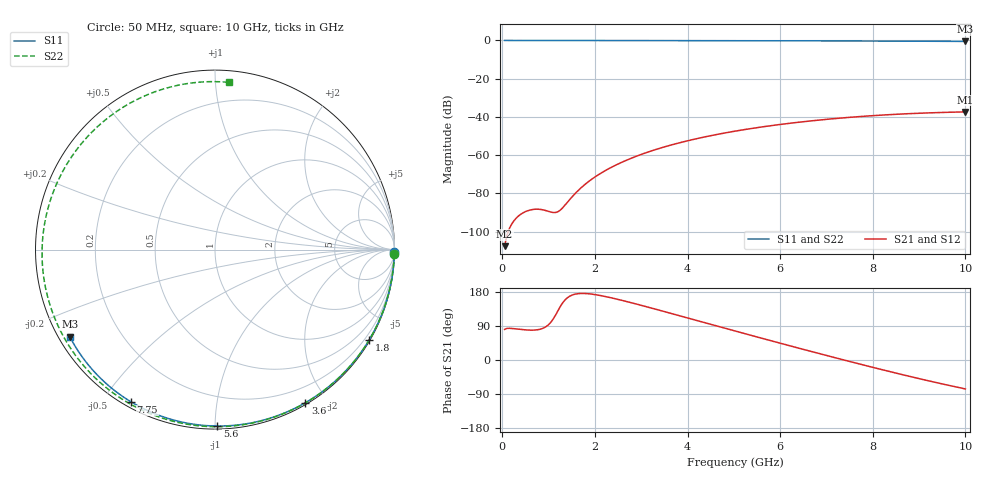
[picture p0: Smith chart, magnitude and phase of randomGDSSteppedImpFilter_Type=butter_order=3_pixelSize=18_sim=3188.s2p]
! freq	dB(S11)	phase(S11)	dB(S12)	phase(S12)
!  dB(S21)	phase(S21)	dB(S22)	phase(S22)
!S-par simulation data
#  GHz  S  DB  R 50
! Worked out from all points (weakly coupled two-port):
!   200 points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, 50 MHz to 10 GHz, reference 50 ohm
!   highest |S21| = -37.38 dB at 10 GHz (marker M1); lowest = -107.6 dB at 50 MHz (marker M2)
!   lowest |S11| = -0.5 dB at 10 GHz (marker M3), VSWR 34.43, Z = 1.56 - j13.9 ohm
!   |S11| at or under -10 dB: nowhere
!   |S22| runs from -0.6 to 0.0 dB; largest |S21 - S12| = 0
!   S11 on the Smith chart (normalised r, x): 50 MHz: open; 1.8 GHz: 0.03, -3.67; 3.6 GHz: 0.02, -1.75; 5.6 GHz: 0.02, -1.01; 7.75 GHz: 0.02, -0.59; 10 GHz: 0.03, -0.28
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0.05  -0.00 -0.8  -107.63 80.7  -107.63 80.7  -0.00 -1.5
0.75  -0.02 -12.8  -88.28 79.6  -88.28 79.6  -0.03 -22.7
1.55  -0.03 -26.3  -80.69 173.1  -80.69 173.1  -0.06 -46.2
1.6  -0.03 -27.1  -79.43 174.4  -79.43 174.4  -0.06 -47.7
1.75  -0.04 -29.6  -76.04 175.6  -76.04 175.6  -0.07 -52.0
1.8  -0.04 -30.5  -75.03 175.4  -75.03 175.4  -0.07 -53.4
2.1  -0.05 -35.4  -69.88 170.6  -69.88 170.6  -0.08 -61.9
2.45  -0.05 -41.1  -65.22 161.4  -65.22 161.4  -0.09 -71.7
2.9  -0.06 -48.4  -60.53 147.5  -60.53 147.5  -0.11 -83.9
3.4  -0.07 -56.3  -56.42 131.1  -56.42 131.1  -0.13 -97.2
3.6  -0.08 -59.4  -55.01 124.4  -55.01 124.4  -0.13 -102.4
4.3  -0.10 -70.1  -50.84 100.9  -50.84 100.9  -0.17 -120.2
5.05  -0.13 -81.3  -47.35 75.7  -47.35 75.7  -0.21 -138.9
5.6  -0.15 -89.3  -45.27 57.5  -45.27 57.5  -0.24 -152.5
6.15  -0.17 -97.1  -43.50 39.4  -43.50 39.4  -0.28 -166.2
6.7  -0.20 -104.7  -41.99 21.6  -41.99 21.6  -0.32 179.9
7.25  -0.24 -112.2  -40.73 4.0  -40.73 4.0  -0.37 165.6
7.75  -0.28 -119.0  -39.76 -11.7  -39.76 -11.7  -0.41 152.2
8.35  -0.33 -127.0  -38.83 -30.1  -38.83 -30.1  -0.46 135.5
9.2  -0.41 -138.3  -37.90 -54.8  -37.90 -54.8  -0.53 110.3
9.6  -0.46 -143.6  -37.60 -65.8  -37.60 -65.8  -0.56 97.9
10  -0.50 -149.0  -37.38 -76.3  -37.38 -76.3  -0.59 85.3
